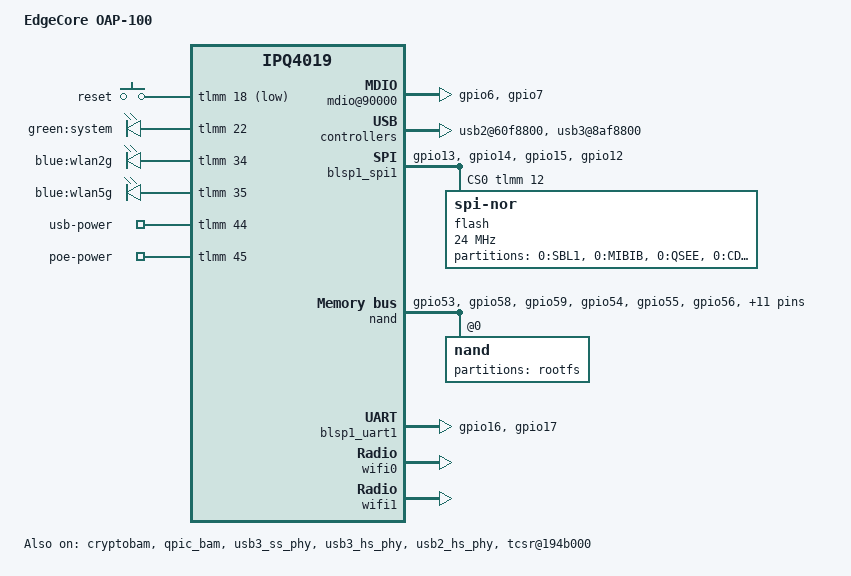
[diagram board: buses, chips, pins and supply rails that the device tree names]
// SPDX-License-Identifier: GPL-2.0-or-later OR MIT

#include "qcom-ipq4019.dtsi"
#include <dt-bindings/gpio/gpio.h>
#include <dt-bindings/input/input.h>
#include <dt-bindings/soc/qcom,tcsr.h>

/ {
	model = "EdgeCore OAP-100";
	compatible = "edgecore,oap100";

	aliases {
		led-boot = &led_system;
		led-failsafe = &led_system;
		led-running = &led_system;
		led-upgrade = &led_system;
	};

	chosen {
		bootargs-append = " root=/dev/ubiblock0_1";
	};

	soc {
		mdio@90000 {
			status = "okay";
			pinctrl-0 = <&mdio_pins>;
			pinctrl-names = "default";
		};

		ess-psgmii@98000 {
			status = "okay";
		};

		tcsr@1949000 {
			compatible = "qcom,tcsr";
			reg = <0x1949000 0x100>;
			qcom,wifi_glb_cfg = <TCSR_WIFI_GLB_CFG>;
		};

		ess_tcsr@1953000 {
			compatible = "qcom,tcsr";
			reg = <0x1953000 0x1000>;
			qcom,ess-interface-select = <TCSR_ESS_PSGMII>;
		};

		tcsr@1957000 {
			compatible = "qcom,tcsr";
			reg = <0x1957000 0x100>;
			qcom,wifi_noc_memtype_m0_m2 = <TCSR_WIFI_NOC_MEMTYPE_M0_M2>;
		};

		tcsr@194b000 {
			/* select hostmode */
			compatible = "qcom,tcsr";
			reg = <0x194b000 0x100>;
			qcom,usb-hsphy-mode-select = <TCSR_USB_HSPHY_HOST_MODE>;
			status = "okay";
		};

		usb2@60f8800 {
			status = "okay";

			dwc3@6000000 {
				#address-cells = <1>;
				#size-cells = <0>;

				usb2_port1: port@1 {
					reg = <1>;
					#trigger-source-cells = <0>;
				};
			};
		};

		usb3@8af8800 {
			status = "okay";

			dwc3@8a00000 {
				#address-cells = <1>;
				#size-cells = <0>;

				usb3_port1: port@1 {
					reg = <1>;
					#trigger-source-cells = <0>;
				};

				usb3_port2: port@2 {
					reg = <2>;
					#trigger-source-cells = <0>;
				};
			};
		};

		crypto@8e3a000 {
			status = "okay";
		};

		watchdog@b017000 {
			status = "okay";
		};

		ess-switch@c000000 {
			status = "okay";
			switch_mac_mode = <0x0>; /* mac mode for RGMII RMII */
			switch_initvlas = <0x0007c 0x54>; /* port0 status */
			switch_lan_bmp = <0x10>;
		};

		edma@c080000 {
			status = "okay";
		};
	};

	key {
		compatible = "gpio-keys";

		button@1 {
			label = "reset";
			linux,code = <KEY_RESTART>;
			gpios = <&tlmm 18 GPIO_ACTIVE_LOW>;
			linux,input-type = <1>;
		};
	};

	leds {
		compatible = "gpio-leds";

		led_system: led_system {
			label = "green:system";
			gpios = <&tlmm 22 GPIO_ACTIVE_HIGH>;
		};

		led_2g {
			label = "blue:wlan2g";
			gpios = <&tlmm 34 GPIO_ACTIVE_HIGH>;
		};

		led_5g {
			label = "blue:wlan5g";
			gpios = <&tlmm 35 GPIO_ACTIVE_HIGH>;
		};
	};

	gpio_export {
		compatible = "gpio-export";
		#size-cells = <0>;

		usb {
			gpio-export,name = "usb-power";
			gpio-export,output = <1>;
			gpios = <&tlmm 44 GPIO_ACTIVE_HIGH>;
		};

		poe {
			gpio-export,name = "poe-power";
			gpio-export,output = <0>;
			gpios = <&tlmm 45 GPIO_ACTIVE_HIGH>;
		};
	};
};

&tlmm {
	serial_0_pins: serial_pinmux {
		mux {
			pins = "gpio16", "gpio17";
			function = "blsp_uart0";
			bias-disable;
		};
	};

	spi_0_pins: spi_0_pinmux {
		pinmux {
			function = "blsp_spi0";
			pins = "gpio13", "gpio14", "gpio15";
			drive-strength = <12>;
			bias-disable;
		};

		pinmux_cs {
			function = "gpio";
			pins = "gpio12";
			drive-strength = <2>;
			bias-disable;
			output-high;
		};
	};

	nand_pins: nand_pins {
		pullups {
			pins = "gpio53", "gpio58", "gpio59";
			function = "qpic";
			bias-pull-up;
		};

		pulldowns {
			pins = "gpio54", "gpio55", "gpio56",
				"gpio57", "gpio60", "gpio61",
				"gpio62", "gpio63", "gpio64",
				"gpio65", "gpio66", "gpio67",
				"gpio68", "gpio69";
			function = "qpic";
			bias-pull-down;
		};
	};

	mdio_pins: mdio_pinmux {
		mux_1 {
			pins = "gpio6";
			function = "mdio";
			bias-pull-up;
		};
		mux_2 {
			pins = "gpio7";
			function = "mdc";
			bias-pull-up;
		};
	};
};

&cryptobam {
	status = "okay";
};

&blsp1_spi1 {
	pinctrl-0 = <&spi_0_pins>;
	pinctrl-names = "default";
	status = "okay";
	cs-gpios = <&tlmm 12 GPIO_ACTIVE_HIGH>;

	flash@0 {
		#address-cells = <1>;
		#size-cells = <1>;
		compatible = "jedec,spi-nor";
		reg = <0>;
		linux,modalias = "m25p80", "gd25q256";
		spi-max-frequency = <24000000>;

		partitions {
			compatible = "fixed-partitions";
			#address-cells = <1>;
			#size-cells = <1>;

			partition0@0 {
				label = "0:SBL1";
				reg = <0x00000000 0x00040000>;
				read-only;
			};
			partition1@40000 {
				label = "0:MIBIB";
				reg = <0x00040000 0x00020000>;
				read-only;
			};
			partition2@60000 {
				label = "0:QSEE";
				reg = <0x00060000 0x00060000>;
				read-only;
			};
			partition3@c0000 {
				label = "0:CDT";
				reg = <0x000c0000 0x00010000>;
				read-only;
			};
			partition4@d0000 {
				label = "0:DDRPARAMS";
				reg = <0x000d0000 0x00010000>;
				read-only;
			};
			partition5@e0000 {
				label = "0:APPSBLENV";
				reg = <0x000e0000 0x00010000>;
				read-only;
			};
			partition6@f0000 {
				label = "0:APPSBL";
				reg = <0x000f0000 0x00080000>;
				read-only;
			};
			partition7@170000 {
				label = "0:ART";
				reg = <0x00170000 0x00010000>;
				read-only;
				compatible = "nvmem-cells";
				#address-cells = <1>;
				#size-cells = <1>;

				precal_art_1000: precal@1000 {
					reg = <0x1000 0x2f20>;
				};

				precal_art_5000: precal@5000 {
					reg = <0x5000 0x2f20>;
				};
			};
		};
	};
};

&nand {
	pinctrl-0 = <&nand_pins>;
	pinctrl-names = "default";
	status = "okay";

	nand@0 {
		partitions {
			compatible = "fixed-partitions";
			#address-cells = <1>;
			#size-cells = <1>;

			partition@0 {
				label = "rootfs";
				reg = <0x00000000 0x4000000>;
			};
		};
	};
};

&blsp_dma {
	status = "okay";
};

&blsp1_uart1 {
	pinctrl-0 = <&serial_0_pins>;
	pinctrl-names = "default";
	status = "okay";
};

&qpic_bam {
	status = "okay";
};

&wifi0 {
	status = "okay";
	nvmem-cell-names = "pre-calibration";
	nvmem-cells = <&precal_art_1000>;
	qcom,ath10k-calibration-variant = "Edgecore OAP100";
};

&wifi1 {
	status = "okay";
	nvmem-cell-names = "pre-calibration";
	nvmem-cells = <&precal_art_5000>;
	qcom,ath10k-calibration-variant = "Edgecore OAP100";
};

&usb3_ss_phy {
	status = "okay";
};

&usb3_hs_phy {
	status = "okay";
};

&usb2_hs_phy {
	status = "okay";
};
